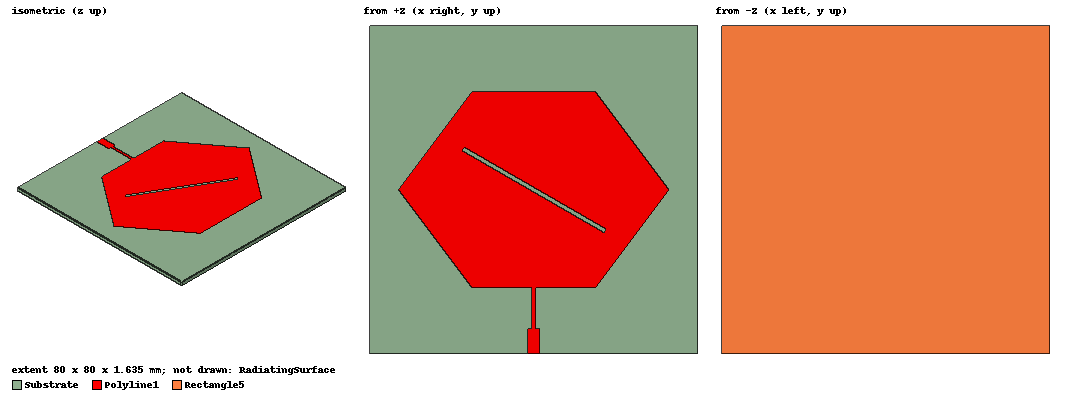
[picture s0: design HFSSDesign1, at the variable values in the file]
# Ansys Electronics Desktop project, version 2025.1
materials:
  vacuum: permittivity=1
  FR4_epoxy: permittivity=4.4 dielectric_loss_tangent=0.02
  copper: permeability=0.999991 conductivity=58000000

design HFSSDesign1 (HFSS, HFSS Terminal Network, model units mm)
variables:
  Sub_X = 80mm
  Sub_Y = 80mm
  Sub_Z = 1.6mm
  QW_Width = 1mm
  QW_Length = -10mm
  Feed_Width = 3mm
  Feed_Length = -6mm
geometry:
  Substrate [FR4_epoxy] = box(corner=(-Sub_X/2, -Sub_Y/2, 0mm), size=(Sub_X, Sub_Y, Sub_Z))
  Polyline1 [copper] = polyline(z=Sub_Z, xy in mm: (-20, -20) (10, -20) (28, 4) (10, 28) (-20, 28) (-38, 4) (-20, -20), closed, covered)
  Polyline1.move(5mm, -4mm, 0mm)
  Rectangle1 = rectangle(corner=(-20mm, 1.5mm, Sub_Z), x_size=40mm, y_size=-1mm)
  Rectangle1.rotate(axis=Z, angle=150deg)
  Rectangle1.move(0.57357644mm, 0.81915204mm, -2.220446e-16mm)
  Rectangle2 = rectangle(corner=(-QW_Width/2, -24mm, Sub_Z), x_size=QW_Width, y_size=QW_Length)
  Rectangle3 = rectangle(corner=(-Feed_Width/2, -34mm, Sub_Z), x_size=Feed_Width, y_size=Feed_Length)
  Polyline1.subtract(Rectangle1)
  Polyline1.unite(Rectangle2, Rectangle3)
  Polyline1.thicken(0.035mm)
  Rectangle4 = rectangle(corner=(-1.5mm, -40mm, 1.635mm), z_size=-1.635mm, x_size=3mm)
  Rectangle5 = rectangle(corner=(-Sub_X/2, -Sub_Y/2, 0mm), x_size=Sub_X, y_size=Sub_Y)
  RadiatingSurface [vacuum] = region(absolute_offset=43.383948mm on all sides)
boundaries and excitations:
  PerfE1: Perfect E Objects=Rectangle5
  Open1: Radiation Objects=RadiatingSurface
  1: Lumped Port Objects=Rectangle4 LumpedPortType=Modal Modes{Mode1{IntLine{(0, -40, 0) -> (0, -40, 1.635)} CharImp=Zpi}} Impedance=50ohm
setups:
  Setup1: HfssDriven Frequency=2.305GHz MaxDeltaS=0.02 MaximumPasses=6 MinimumPasses=1 MinimumConvergedPasses=1 PercentRefinement=30 BasisOrder=1 PortAccuracy=2 DrivenSolverType="Direct Solver"
    sweep Sweep: 1.1525GHz to 3.4575GHz, 401 points; Type=Interpolating InterpTolerance=0.5 InterpMaxSolns=250 PassivityErrorTolerance=0.0001
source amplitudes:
  1:1: 1V 0deg
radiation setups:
  3D: Infinite Sphere Theta=0deg..180deg step 2deg Phi=-180deg..180deg step 2deg
  Elevation: Infinite Sphere Theta=-180deg..180deg step 1deg Phi=0deg..90deg step 90deg
  Azimuth: Infinite Sphere Theta=90deg..90deg step 0deg Phi=-180deg..180deg step 1deg
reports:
  Gain Plot1: dB(GainTotal) vs Phi, Theta on Setup1 : LastAdaptive, 3D [Freq=2.305GHz]
  Gain Plot2: dB10normalize(GainTotal) vs Theta on Setup1 : LastAdaptive, 3D [Phi=all Freq=2.305GHz]
  Terminal S Parameter Plot1: dB(St(1,1)) vs Freq on Setup1 : Sweep
